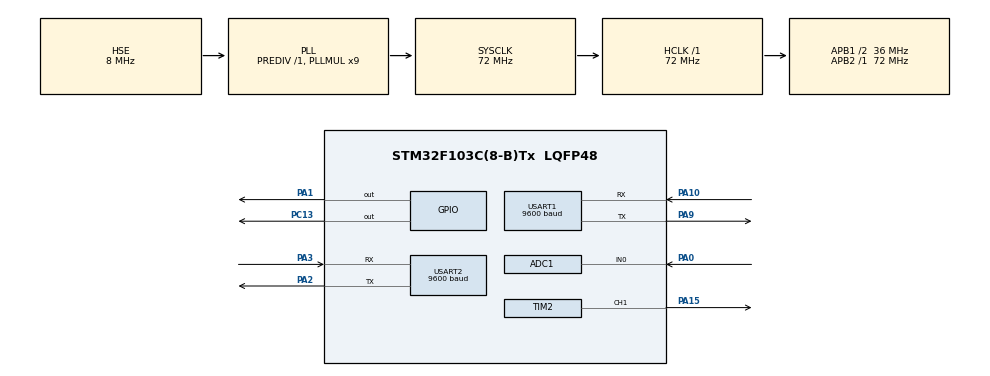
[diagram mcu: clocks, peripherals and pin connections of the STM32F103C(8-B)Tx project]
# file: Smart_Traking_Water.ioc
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ADC1.Channel-1\#ChannelRegularConversion=ADC_CHANNEL_0
ADC1.ContinuousConvMode=ENABLE
ADC1.NbrOfConversionFlag=1
ADC1.Rank-1\#ChannelRegularConversion=1
ADC1.SamplingTime-1\#ChannelRegularConversion=ADC_SAMPLETIME_1CYCLE_5
ADC1.master=1
Mcu.Family=STM32F1
Mcu.Name=STM32F103C(8-B)Tx
Mcu.Package=LQFP48
NVIC.PriorityGroup=NVIC_PRIORITYGROUP_4
NVIC.USART1_IRQn=true\:0\:0\:false\:false\:true\:true\:true
NVIC.USART2_IRQn=true\:0\:0\:false\:false\:true\:true\:true
PA0-WKUP.Signal=ADCx_IN0
PA1.Signal=GPIO_Output
PA10.Mode=Asynchronous
PA10.Signal=USART1_RX
PA13.Mode=Serial_Wire
PA13.Signal=SYS_JTMS-SWDIO
PA14.Mode=Serial_Wire
PA14.Signal=SYS_JTCK-SWCLK
PA15.Signal=S_TIM2_CH1_ETR
PA2.Mode=Asynchronous
PA2.Signal=USART2_TX
PA3.Mode=Asynchronous
PA3.Signal=USART2_RX
PA9.Mode=Asynchronous
PA9.Signal=USART1_TX
PC13-TAMPER-RTC.Signal=GPIO_Output
PD0-OSC_IN.Mode=HSE-External-Oscillator
PD0-OSC_IN.Signal=RCC_OSC_IN
PD1-OSC_OUT.Mode=HSE-External-Oscillator
PD1-OSC_OUT.Signal=RCC_OSC_OUT
ProjectManager.HeapSize=0x200
ProjectManager.StackSize=0x400
ProjectManager.TargetToolchain=MDK-ARM V5.27
RCC.ADCPresc=RCC_ADCPCLK2_DIV6
RCC.AHBFreq_Value=72000000
RCC.APB1CLKDivider=RCC_HCLK_DIV2
RCC.APB1Freq_Value=36000000
RCC.APB1TimFreq_Value=72000000
RCC.APB2Freq_Value=72000000
RCC.APB2TimFreq_Value=72000000
RCC.HCLKFreq_Value=72000000
RCC.PLLMUL=RCC_PLL_MUL9
RCC.PLLSourceVirtual=RCC_PLLSOURCE_HSE
RCC.SYSCLKFreq_VALUE=72000000
RCC.SYSCLKSource=RCC_SYSCLKSOURCE_PLLCLK
RCC.USBFreq_Value=72000000
SH.ADCx_IN0.0=ADC1_IN0,IN0
SH.S_TIM2_CH1_ETR.0=TIM2_CH1,PWM Generation1 CH1
TIM1.Period=0xffff-1
TIM1.Prescaler=72-1
TIM2.AutoReloadPreload=TIM_AUTORELOAD_PRELOAD_ENABLE
TIM2.Channel-PWM\ Generation1\ CH1=TIM_CHANNEL_1
TIM2.Period=999
TIM2.Prescaler=1439
USART1.BaudRate=9600
USART1.VirtualMode=VM_ASYNC
USART2.BaudRate=9600
USART2.VirtualMode=VM_ASYNC
VP_TIM1_VS_ClockSourceINT.Mode=Internal
VP_TIM2_VS_ClockSourceINT.Mode=Internal
board=custom

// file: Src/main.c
/* USER CODE BEGIN Header */
/**
  ******************************************************************************
  * @file           : main.c
  * @brief          : Main program body
  ******************************************************************************
  * @attention
  *
  * <h2><center>&copy; Copyright (c) 2020 STMicroelectronics.
  * All rights reserved.</center></h2>
  *
  * This software component is licensed by ST under BSD 3-Clause license,
  * the "License"; You may not use this file except in compliance with the
  * License. You may obtain a copy of the License at:
  *                        opensource.org/licenses/BSD-3-Clause
  *
  ******************************************************************************
  */
/* USER CODE END Header */

#include "main.h"

/* USER CODE BEGIN Includes */
#include <stdio.h>
#include "ds18b20.h"
/* USER CODE END Includes */

/* USER CODE BEGIN PTD */
#ifdef __GNUC__
  /* With GCC, small printf (option LD Linker->Libraries->Small printf
     set to 'Yes') calls __io_putchar() */
  #define PUTCHAR_PROTOTYPE int __io_putchar(int ch)
#else
  #define PUTCHAR_PROTOTYPE int fputc(int ch, FILE *f)
#endif /* __GNUC__ */
// link: https://github.com/MYaqoobEmbedded/STM32-Tutorials/blob/master/Tutorial%2038%20-%20Printf%20UART%20debugging/printf%20perp%20doc.txt  https://www.youtube.com/watch?v=igezxVvfAk8
/* USER CODE END PTD */

ADC_HandleTypeDef hadc1;

TIM_HandleTypeDef htim1;
TIM_HandleTypeDef htim2;

UART_HandleTypeDef huart1;
UART_HandleTypeDef huart2;

/* USER CODE BEGIN PV */
uint8_t Temp_byte1, Temp_byte2;
uint16_t TEMP;
float Temperature = 0;
uint8_t Presence = 0;
uint16_t adc_value;

float Water_Clarity_Value = 0;

int32_t CH1_DC = 0;
/* USER CODE END PV */

void SystemClock_Config(void);
static void MX_GPIO_Init(void);
static void MX_TIM1_Init(void);
static void MX_USART1_UART_Init(void);
static void MX_USART2_UART_Init(void);
static void MX_ADC1_Init(void);
static void MX_TIM2_Init(void);
/* USER CODE BEGIN PFP */
void Read_Temperature_ds18b20(void);
void Read_Water_Clarity(void);
/* USER CODE END PFP */

int main(void)
{

  /* MCU Configuration--------------------------------------------------------*/

  /* Reset of all peripherals, Initializes the Flash interface and the Systick. */
  HAL_Init();

  /* Configure the system clock */
  SystemClock_Config();

  /* Initialize all configured peripherals */
  MX_GPIO_Init();
  MX_TIM1_Init();
  MX_USART1_UART_Init();
  MX_USART2_UART_Init();
  MX_ADC1_Init();
  MX_TIM2_Init();
  /* USER CODE BEGIN 2 */
   HAL_TIM_Base_Start(&htim1);
	 HAL_TIM_PWM_Start(&htim2, TIM_CHANNEL_1);
  /* USER CODE END 2 */

  /* Infinite loop */
  while (1)
  {

    /* USER CODE BEGIN 3 */

    Read_Temperature_ds18b20();
		Read_Water_Clarity();
		//HAL_Delay(200);
	  printf("\r\n temperature is: %.2f ",Temperature);
		printf("\r\n Water Clarity is: %.2f ",Water_Clarity_Value);

			while(CH1_DC < 75)
    	{
    	    TIM2->CCR1 = CH1_DC;
    	    CH1_DC += 2;
    	    HAL_Delay(40);
    	}
    	while(CH1_DC > 0)
    	{
    	    TIM2->CCR1 = CH1_DC;
    	    CH1_DC -= 2;
    	    HAL_Delay(40);
    	}

  }
  /* USER CODE END 3 */
}

void SystemClock_Config(void)
{
  RCC_OscInitTypeDef RCC_OscInitStruct = {0};
  RCC_ClkInitTypeDef RCC_ClkInitStruct = {0};
  RCC_PeriphCLKInitTypeDef PeriphClkInit = {0};

  /** Initializes the CPU, AHB and APB busses clocks
  */
  RCC_OscInitStruct.OscillatorType = RCC_OSCILLATORTYPE_HSE;
  RCC_OscInitStruct.HSEState = RCC_HSE_ON;
  RCC_OscInitStruct.HSEPredivValue = RCC_HSE_PREDIV_DIV1;
  RCC_OscInitStruct.HSIState = RCC_HSI_ON;
  RCC_OscInitStruct.PLL.PLLState = RCC_PLL_ON;
  RCC_OscInitStruct.PLL.PLLSource = RCC_PLLSOURCE_HSE;
  RCC_OscInitStruct.PLL.PLLMUL = RCC_PLL_MUL9;
  if (HAL_RCC_OscConfig(&RCC_OscInitStruct) != HAL_OK)
  {
    Error_Handler();
  }
  /** Initializes the CPU, AHB and APB busses clocks
  */
  RCC_ClkInitStruct.ClockType = RCC_CLOCKTYPE_HCLK|RCC_CLOCKTYPE_SYSCLK
                              |RCC_CLOCKTYPE_PCLK1|RCC_CLOCKTYPE_PCLK2;
  RCC_ClkInitStruct.SYSCLKSource = RCC_SYSCLKSOURCE_PLLCLK;
  RCC_ClkInitStruct.AHBCLKDivider = RCC_SYSCLK_DIV1;
  RCC_ClkInitStruct.APB1CLKDivider = RCC_HCLK_DIV2;
  RCC_ClkInitStruct.APB2CLKDivider = RCC_HCLK_DIV1;

  if (HAL_RCC_ClockConfig(&RCC_ClkInitStruct, FLASH_LATENCY_2) != HAL_OK)
  {
    Error_Handler();
  }
  PeriphClkInit.PeriphClockSelection = RCC_PERIPHCLK_ADC;
  PeriphClkInit.AdcClockSelection = RCC_ADCPCLK2_DIV6;
  if (HAL_RCCEx_PeriphCLKConfig(&PeriphClkInit) != HAL_OK)
  {
    Error_Handler();
  }
}

static void MX_ADC1_Init(void)
{

  ADC_ChannelConfTypeDef sConfig = {0};

  /** Common config
  */
  hadc1.Instance = ADC1;
  hadc1.Init.ScanConvMode = ADC_SCAN_DISABLE;
  hadc1.Init.ContinuousConvMode = ENABLE;
  hadc1.Init.DiscontinuousConvMode = DISABLE;
  hadc1.Init.ExternalTrigConv = ADC_SOFTWARE_START;
  hadc1.Init.DataAlign = ADC_DATAALIGN_RIGHT;
  hadc1.Init.NbrOfConversion = 1;
  if (HAL_ADC_Init(&hadc1) != HAL_OK)
  {
    Error_Handler();
  }
  /** Configure Regular Channel
  */
  sConfig.Channel = ADC_CHANNEL_0;
  sConfig.Rank = ADC_REGULAR_RANK_1;
  sConfig.SamplingTime = ADC_SAMPLETIME_1CYCLE_5;
  if (HAL_ADC_ConfigChannel(&hadc1, &sConfig) != HAL_OK)
  {
    Error_Handler();
  }

}

static void MX_TIM1_Init(void)
{

  TIM_ClockConfigTypeDef sClockSourceConfig = {0};
  TIM_MasterConfigTypeDef sMasterConfig = {0};

  htim1.Instance = TIM1;
  htim1.Init.Prescaler = 72-1;
  htim1.Init.CounterMode = TIM_COUNTERMODE_UP;
  htim1.Init.Period = 0xffff-1;
  htim1.Init.ClockDivision = TIM_CLOCKDIVISION_DIV1;
  htim1.Init.RepetitionCounter = 0;
  htim1.Init.AutoReloadPreload = TIM_AUTORELOAD_PRELOAD_DISABLE;
  if (HAL_TIM_Base_Init(&htim1) != HAL_OK)
  {
    Error_Handler();
  }
  sClockSourceConfig.ClockSource = TIM_CLOCKSOURCE_INTERNAL;
  if (HAL_TIM_ConfigClockSource(&htim1, &sClockSourceConfig) != HAL_OK)
  {
    Error_Handler();
  }
  sMasterConfig.MasterOutputTrigger = TIM_TRGO_RESET;
  sMasterConfig.MasterSlaveMode = TIM_MASTERSLAVEMODE_DISABLE;
  if (HAL_TIMEx_MasterConfigSynchronization(&htim1, &sMasterConfig) != HAL_OK)
  {
    Error_Handler();
  }

}

static void MX_TIM2_Init(void)
{

  TIM_ClockConfigTypeDef sClockSourceConfig = {0};
  TIM_MasterConfigTypeDef sMasterConfig = {0};
  TIM_OC_InitTypeDef sConfigOC = {0};

  htim2.Instance = TIM2;
  htim2.Init.Prescaler = 1439;
  htim2.Init.CounterMode = TIM_COUNTERMODE_UP;
  htim2.Init.Period = 999;
  htim2.Init.ClockDivision = TIM_CLOCKDIVISION_DIV1;
  htim2.Init.AutoReloadPreload = TIM_AUTORELOAD_PRELOAD_ENABLE;
  if (HAL_TIM_Base_Init(&htim2) != HAL_OK)
  {
    Error_Handler();
  }
  sClockSourceConfig.ClockSource = TIM_CLOCKSOURCE_INTERNAL;
  if (HAL_TIM_ConfigClockSource(&htim2, &sClockSourceConfig) != HAL_OK)
  {
    Error_Handler();
  }
  if (HAL_TIM_PWM_Init(&htim2) != HAL_OK)
  {
    Error_Handler();
  }
  sMasterConfig.MasterOutputTrigger = TIM_TRGO_RESET;
  sMasterConfig.MasterSlaveMode = TIM_MASTERSLAVEMODE_DISABLE;
  if (HAL_TIMEx_MasterConfigSynchronization(&htim2, &sMasterConfig) != HAL_OK)
  {
    Error_Handler();
  }
  sConfigOC.OCMode = TIM_OCMODE_PWM1;
  sConfigOC.Pulse = 0;
  sConfigOC.OCPolarity = TIM_OCPOLARITY_HIGH;
  sConfigOC.OCFastMode = TIM_OCFAST_DISABLE;
  if (HAL_TIM_PWM_ConfigChannel(&htim2, &sConfigOC, TIM_CHANNEL_1) != HAL_OK)
  {
    Error_Handler();
  }
  HAL_TIM_MspPostInit(&htim2);

}

static void MX_USART1_UART_Init(void)
{

  huart1.Instance = USART1;
  huart1.Init.BaudRate = 9600;
  huart1.Init.WordLength = UART_WORDLENGTH_8B;
  huart1.Init.StopBits = UART_STOPBITS_1;
  huart1.Init.Parity = UART_PARITY_NONE;
  huart1.Init.Mode = UART_MODE_TX_RX;
  huart1.Init.HwFlowCtl = UART_HWCONTROL_NONE;
  huart1.Init.OverSampling = UART_OVERSAMPLING_16;
  if (HAL_UART_Init(&huart1) != HAL_OK)
  {
    Error_Handler();
  }

}

static void MX_USART2_UART_Init(void)
{

  huart2.Instance = USART2;
  huart2.Init.BaudRate = 9600;
  huart2.Init.WordLength = UART_WORDLENGTH_8B;
  huart2.Init.StopBits = UART_STOPBITS_1;
  huart2.Init.Parity = UART_PARITY_NONE;
  huart2.Init.Mode = UART_MODE_TX_RX;
  huart2.Init.HwFlowCtl = UART_HWCONTROL_NONE;
  huart2.Init.OverSampling = UART_OVERSAMPLING_16;
  if (HAL_UART_Init(&huart2) != HAL_OK)
  {
    Error_Handler();
  }

}

static void MX_GPIO_Init(void)
{
  GPIO_InitTypeDef GPIO_InitStruct = {0};

  /* GPIO Ports Clock Enable */
  __HAL_RCC_GPIOC_CLK_ENABLE();
  __HAL_RCC_GPIOD_CLK_ENABLE();
  __HAL_RCC_GPIOA_CLK_ENABLE();

  /*Configure GPIO pin Output Level */
  HAL_GPIO_WritePin(GPIOC, GPIO_PIN_13, GPIO_PIN_RESET);

  /*Configure GPIO pin Output Level */
  HAL_GPIO_WritePin(GPIOA, GPIO_PIN_1, GPIO_PIN_RESET);

  /*Configure GPIO pin : PC13 */
  GPIO_InitStruct.Pin = GPIO_PIN_13;
  GPIO_InitStruct.Mode = GPIO_MODE_OUTPUT_PP;
  GPIO_InitStruct.Pull = GPIO_NOPULL;
  GPIO_InitStruct.Speed = GPIO_SPEED_FREQ_LOW;
  HAL_GPIO_Init(GPIOC, &GPIO_InitStruct);

  /*Configure GPIO pin : PA1 */
  GPIO_InitStruct.Pin = GPIO_PIN_1;
  GPIO_InitStruct.Mode = GPIO_MODE_OUTPUT_PP;
  GPIO_InitStruct.Pull = GPIO_NOPULL;
  GPIO_InitStruct.Speed = GPIO_SPEED_FREQ_LOW;
  HAL_GPIO_Init(GPIOA, &GPIO_InitStruct);

}

/* USER CODE BEGIN 4 */

/*Edit to use printf*/
PUTCHAR_PROTOTYPE
{
  /* Place your implementation of fputc here */
  /* e.g. write a character to the EVAL_COM1 and Loop until the end of transmission */
  HAL_UART_Transmit(&huart2, (uint8_t *)&ch, 1, 0xFFFF);

  return ch;
}

void Read_Temperature_ds18b20(void)
	{
				Presence = DS18B20_Start ();
	  HAL_Delay (1);
	  DS18B20_Write (0xCC);  // skip ROM
	  DS18B20_Write (0x44);  // convert t
	  HAL_Delay (800);

	  Presence = DS18B20_Start ();
    HAL_Delay(1);
    DS18B20_Write (0xCC);  // skip ROM
    DS18B20_Write (0xBE);  // Read Scratch-pad

    Temp_byte1 = DS18B20_Read();
	  Temp_byte2 = DS18B20_Read();
	  TEMP = (Temp_byte2<<8)|Temp_byte1;
	  Temperature = (float)TEMP/16;
	}

void Read_Water_Clarity(void)
	{
	  HAL_ADC_Start(&hadc1);
		HAL_ADC_PollForConversion(&hadc1, 100);
		adc_value = HAL_ADC_GetValue(&hadc1);
		Water_Clarity_Value = adc_value*100/4096;
		HAL_ADC_Stop(&hadc1);

	}

/* USER CODE END 4 */

void Error_Handler(void)
{
}

/************************ (C) COPYRIGHT STMicroelectronics *****END OF FILE****/
